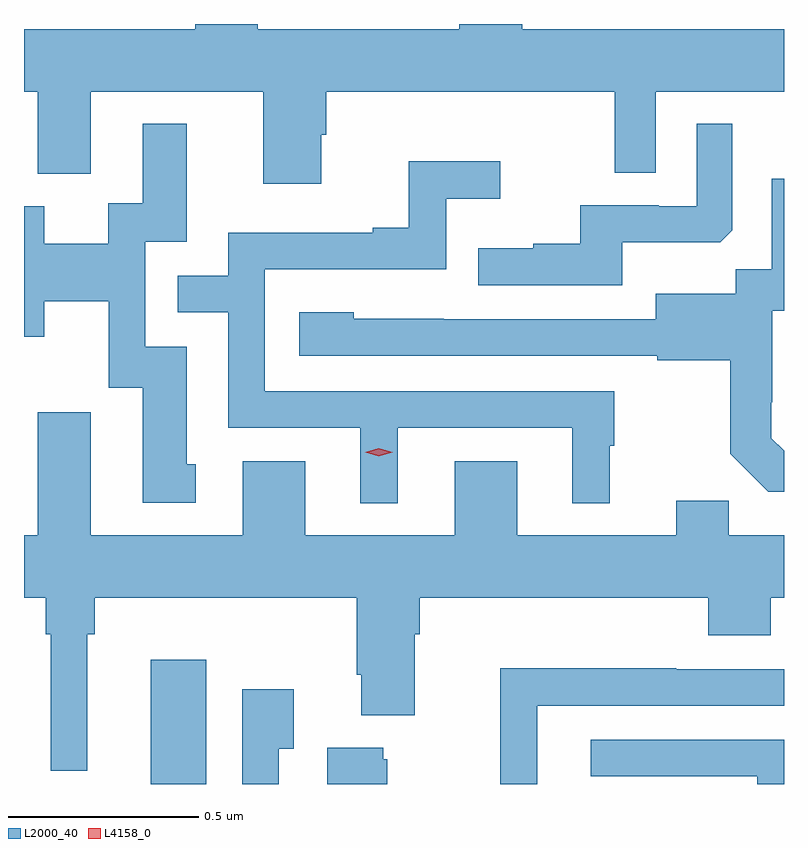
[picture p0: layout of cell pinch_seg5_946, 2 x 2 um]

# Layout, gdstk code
import gdstk
lib = gdstk.Library(unit=1e-6, precision=1e-09)
def R(c, l, rs):  # rectangles x0, y0, x1, y1
    for r in rs: c.add(gdstk.rectangle(r[:2], r[2:], *l))
def P(c, l, *ps):  # polygons
    for p in ps: c.add(gdstk.Polygon(p, *l))
L2000_40 = (2000, 40)
L4158_0 = (4158, 0)

pinch_seg5_946 = lib.new_cell('pinch_seg5_946')
R(pinch_seg5_946, L2000_40, [(686.372,876.25,686.518,876.577)])
P(pinch_seg5_946, L2000_40, [(686.821,877.959),(686.834,877.959),(686.834,878.072),(687.594,878.072),(687.594,877.858),(687.702,877.858),(687.702,878.072),(688.039,878.072),(688.039,878.236),(687.35,878.236),(687.35,878.25),(687.185,878.25),(687.185,878.236),(686.654,878.236),(686.654,878.25),(686.489,878.25),(686.489,878.236),(686.039,878.236),(686.039,878.072),(686.075,878.072),(686.075,877.856),(686.215,877.856),(686.215,878.072),(686.669,878.072),(686.669,877.83),(686.821,877.83)],
  [(687.613,877.676),(687.871,877.676),(687.903,877.707),(687.903,877.987),(687.81,877.987),(687.81,877.77),(687.71,877.77),(687.71,877.773),(687.503,877.773),(687.503,877.672),(687.379,877.672),(687.379,877.66),(687.235,877.66),(687.235,877.563),(687.613,877.563)],
  [(686.491,877.092),(686.467,877.092),(686.467,877.401),(686.358,877.401),(686.358,877.677),(686.467,877.677),(686.467,877.987),(686.351,877.987),(686.351,877.778),(686.261,877.778),(686.261,877.672),(686.092,877.672),(686.092,877.771),(686.039,877.771),(686.039,877.427),(686.092,877.427),(686.092,877.52),(686.262,877.52),(686.262,877.293),(686.351,877.293),(686.351,876.99),(686.491,876.99)],
  [(687.022,877.188),(687.482,877.188),(687.482,876.989),(687.58,876.989),(687.58,877.14),(687.592,877.14),(687.592,877.284),(686.673,877.284),(686.673,877.605),(687.15,877.605),(687.15,877.79),(687.292,877.79),(687.292,877.889),(687.052,877.889),(687.052,877.714),(686.957,877.714),(686.957,877.701),(686.577,877.701),(686.577,877.587),(686.443,877.587),(686.443,877.491),(686.577,877.491),(686.577,877.188),(686.924,877.188),(686.924,876.989),(687.022,876.989)],
  [(688.039,877.127),(688.006,877.16),(688.006,877.255),(688.008,877.255),(688.008,877.496),(688.039,877.496),(688.039,877.843),(688.007,877.843),(688.007,877.604),(687.912,877.604),(687.912,877.54),(687.701,877.54),(687.701,877.473),(687.143,877.473),(687.143,877.474),(686.907,877.474),(686.907,877.492),(686.763,877.492),(686.763,877.377),(687.705,877.377),(687.705,877.365),(687.897,877.365),(687.897,877.119),(687.997,877.019),(688.039,877.019)],
  [(686.206,876.644),(686.225,876.644),(686.225,876.74),(686.915,876.74),(686.915,876.538),(686.927,876.538),(686.927,876.431),(687.067,876.431),(687.067,876.644),(687.08,876.644),(687.08,876.74),(687.839,876.74),(687.839,876.641),(688.004,876.641),(688.004,876.74),(688.039,876.74),(688.039,876.904),(687.893,876.904),(687.893,876.995),(687.755,876.995),(687.755,876.904),(687.337,876.904),(687.337,877.099),(687.173,877.099),(687.173,876.904),(686.779,876.904),(686.779,877.099),(686.615,877.099),(686.615,876.904),(686.215,876.904),(686.215,877.228),(686.075,877.228),(686.075,876.904),(686.039,876.904),(686.039,876.74),(686.096,876.74),(686.096,876.644),(686.109,876.644),(686.109,876.285),(686.206,876.285)],
  [(687.39,876.456),(688.039,876.456),(688.039,876.552),(687.755,876.552),(687.755,876.554),(687.292,876.554),(687.292,876.25),(687.39,876.25)],
  [(686.709,876.343),(686.749,876.343),(686.749,876.499),(686.613,876.499),(686.613,876.25),(686.709,876.25)],
  [(688.039,876.366),(687.531,876.366),(687.531,876.27),(687.969,876.27),(687.969,876.25),(688.039,876.25)],
  [(686.995,876.315),(686.984,876.315),(686.984,876.346),(686.837,876.346),(686.837,876.25),(686.995,876.25)])
P(pinch_seg5_946, L4158_0, [(686.973,877.113),(686.937,877.123),(686.937,877.123),(686.937,877.123),(686.973,877.133),(687.009,877.123),(687.009,877.123),(687.009,877.123)])

lib.write_gds('pinch_seg5_946.gds')
